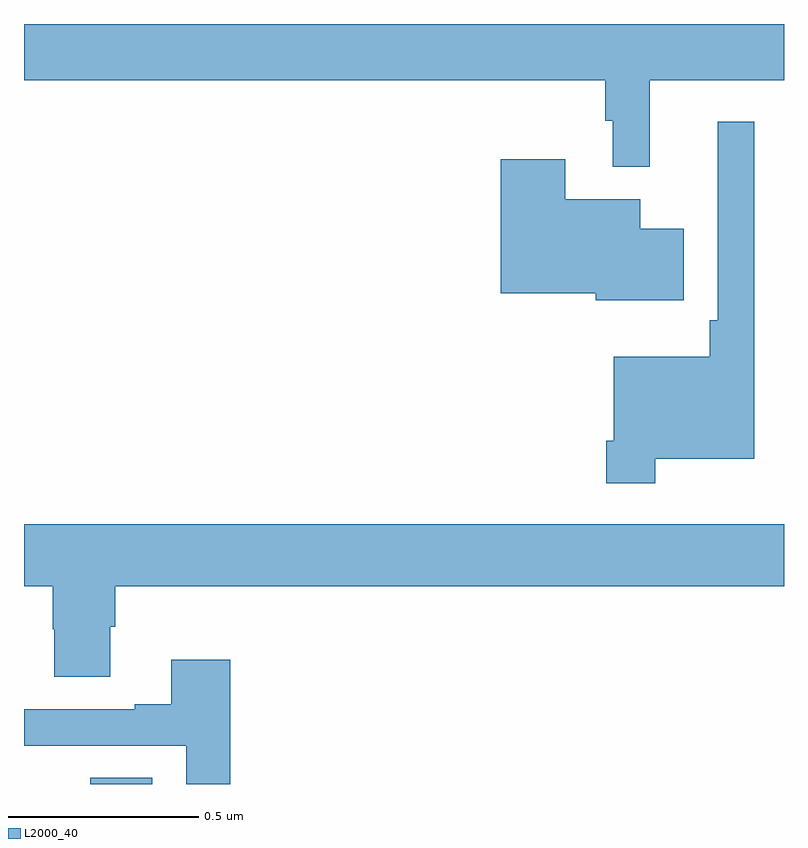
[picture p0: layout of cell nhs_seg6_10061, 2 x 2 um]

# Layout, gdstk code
import gdstk
lib = gdstk.Library(unit=1e-6, precision=1e-09)
def R(c, l, rs):  # rectangles x0, y0, x1, y1
    for r in rs: c.add(gdstk.rectangle(r[:2], r[2:], *l))
def P(c, l, *ps):  # polygons
    for p in ps: c.add(gdstk.Polygon(p, *l))
L2000_40 = (2000, 40)

nhs_seg6_10061 = lib.new_cell('nhs_seg6_10061')
R(nhs_seg6_10061, L2000_40, [(242.174,929.5,242.338,929.516)])
P(nhs_seg6_10061, L2000_40, [(243.647,931.352),(244,931.352),(244,931.5),(242,931.5),(242,931.352),(243.529,931.352),(243.529,931.245),(243.549,931.245),(243.549,931.124),(243.647,931.124)],
  [(243.661,930.356),(243.922,930.356),(243.922,931.243),(243.825,931.243),(243.825,930.721),(243.805,930.721),(243.805,930.625),(243.552,930.625),(243.552,930.403),(243.532,930.403),(243.532,930.291),(243.661,930.291)],
  [(243.736,930.961),(243.622,930.961),(243.622,931.039),(243.424,931.039),(243.424,931.144),(243.254,931.144),(243.254,930.791),(243.504,930.791),(243.504,930.773),(243.736,930.773)],
  [(242,930.02),(242.075,930.02),(242.075,929.907),(242.08,929.907),(242.08,929.782),(242.227,929.782),(242.227,929.914),(242.24,929.914),(242.24,930.02),(244,930.02),(244,930.184),(242,930.184)],
  [(242.543,929.827),(242.387,929.827),(242.387,929.71),(242.291,929.71),(242.291,929.697),(242,929.697),(242,929.601),(242.427,929.601),(242.427,929.5),(242.543,929.5)])

lib.write_gds('nhs_seg6_10061.gds')
